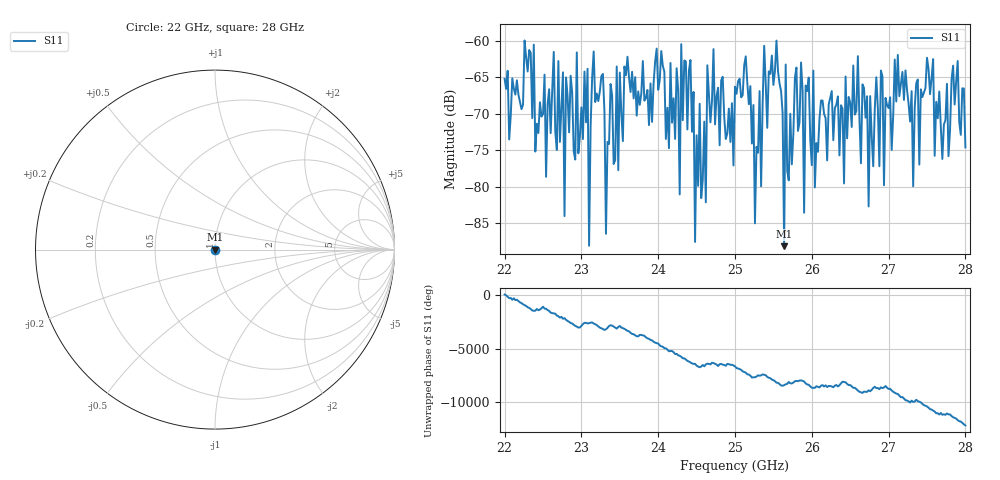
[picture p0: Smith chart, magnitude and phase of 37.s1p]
#  HZ  S  RI  R  50.00
! Rohde & Schwarz ZVA40 4Ports - Version 3.90 - 1145.1110k42 SN: 100403
! Date: 2023-10-04 09:24:45
! Measurement: S12
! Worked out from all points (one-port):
!   301 points, 22 GHz to 28 GHz, reference 50 ohm
!   lowest |S11| = -88.2 dB at 25.64 GHz (marker M1), VSWR 1.00, Z = 50 - j0.00306 ohm
!   |S11| at or under -10 dB: start of sweep to end of sweep
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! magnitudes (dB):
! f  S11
! 22 GHz  -65.2
! 22.38 GHz  -60.5
! 22.54 GHz  -78.7
! 22.76 GHz  -64.3
! 22.78 GHz  -84.0
! 22.8 GHz  -65.0
! 22.92 GHz  -76.3
! 22.94 GHz  -61.6
! 22.96 GHz  -75.4
! 23.08 GHz  -63.8
! 23.1 GHz  -88.1
! 23.16 GHz  -61.5
! 23.32 GHz  -86.5
! 23.5 GHz  -64.4
! 24.26 GHz  -66.7
! 24.62 GHz  -82.2
! 24.64 GHz  -63.4
! 25 GHz  -66.3
! 25.34 GHz  -80.0
! 25.38 GHz  -60.7
! 25.54 GHz  -60.0
! 25.64 GHz  -88.2
! 25.66 GHz  -63.3
! 25.68 GHz  -77.8
! 25.76 GHz  -72.7
! 26.5 GHz  -68.5
! 27.26 GHz  -68.6
! 28 GHz  -74.6
